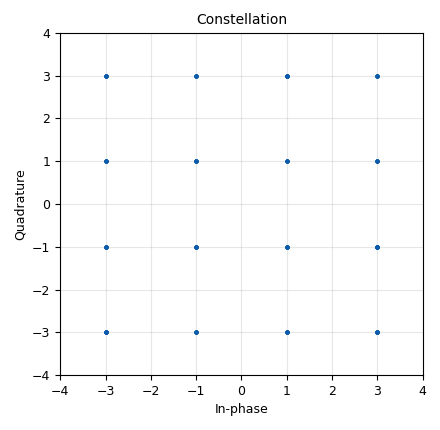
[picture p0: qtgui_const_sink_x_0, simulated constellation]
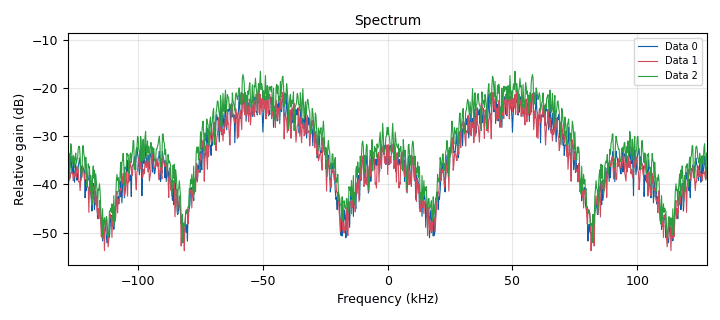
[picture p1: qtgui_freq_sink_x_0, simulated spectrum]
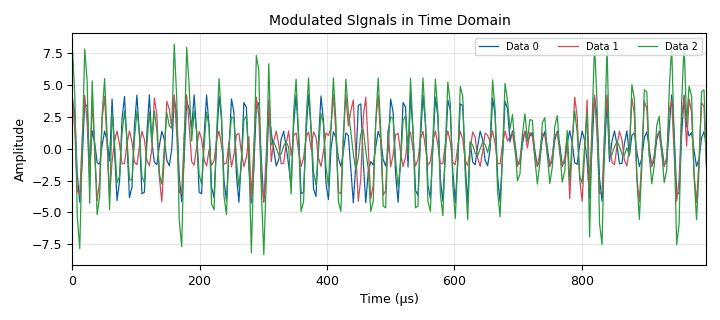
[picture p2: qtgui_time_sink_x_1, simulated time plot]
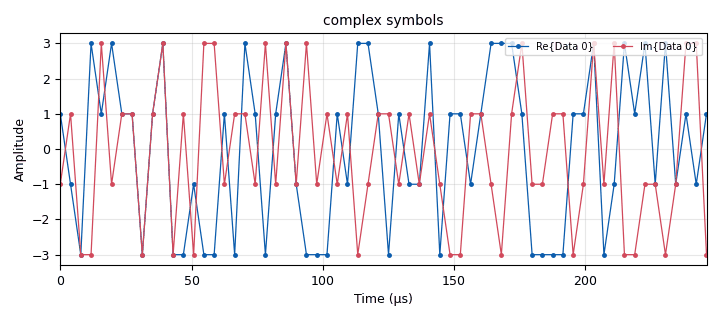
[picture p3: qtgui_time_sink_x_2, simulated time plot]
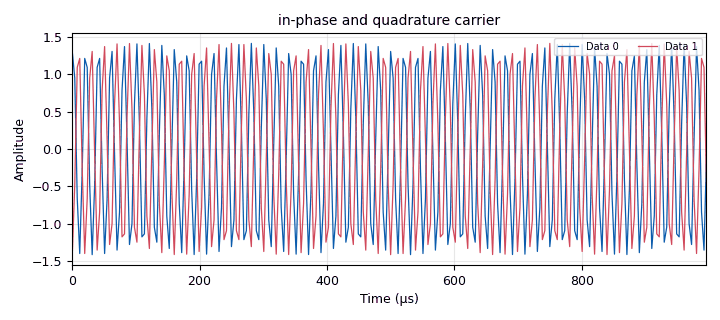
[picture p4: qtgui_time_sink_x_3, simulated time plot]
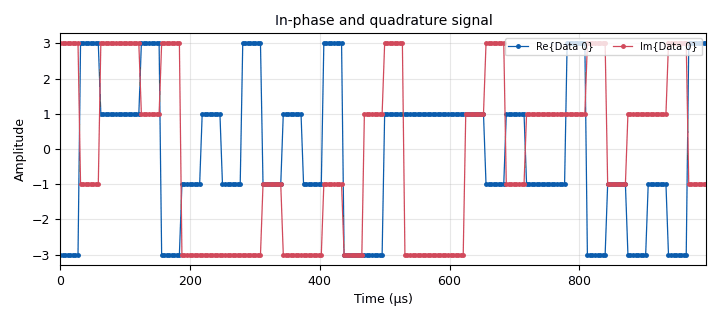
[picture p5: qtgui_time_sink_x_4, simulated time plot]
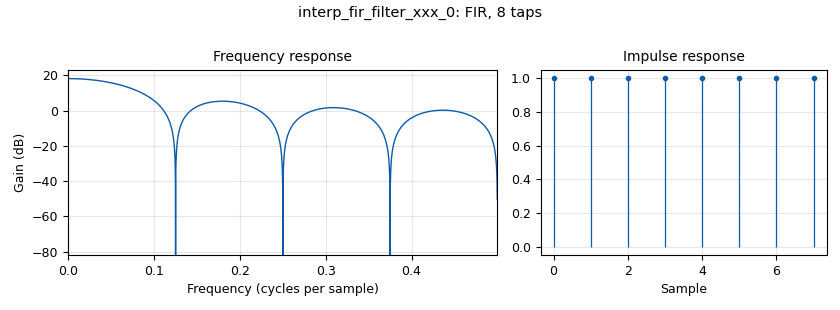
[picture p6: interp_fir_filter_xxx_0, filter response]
<?xml version='1.0' encoding='utf-8'?>
<?grc format='1' created='3.7.9'?>
<flow_graph>
<block>
<key>options</key>
<param><key>id</key><value>qpsk_mod</value></param>
<param><key>category</key><value>Custom</value></param>
<param><key>generate_options</key><value>qt_gui</value></param>
<param><key>title</key><value>QPSK Modulation</value></param>
</block>
<block>
<key>variable_qtgui_range</key>
<param><key>id</key><value>fc</value></param>
<param><key>value</key><value>50000</value></param>
<param><key>gui_hint</key><value>0,0,1,1</value></param>
<param><key>label</key><value>Carrier Frequency</value></param>
<param><key>orient</key><value>Qt.Horizontal</value></param>
<param><key>start</key><value>1000</value></param>
<param><key>step</key><value>100</value></param>
<param><key>stop</key><value>100000</value></param>
</block>
<block>
<key>variable</key>
<param><key>id</key><value>samp_rate</value></param>
<param><key>value</key><value>32000</value></param>
</block>
<block>
<key>variable</key>
<param><key>id</key><value>sps</value></param>
<param><key>value</key><value>8</value></param>
</block>
<block>
<key>analog_random_source_x</key>
<param><key>id</key><value>analog_random_source_x_1</value></param>
<param><key>max</key><value>256</value></param>
<param><key>min</key><value>0</value></param>
<param><key>num_samps</key><value>1000</value></param>
<param><key>type</key><value>byte</value></param>
<param><key>repeat</key><value>True</value></param>
</block>
<block>
<key>analog_sig_source_x</key>
<param><key>id</key><value>analog_sig_source_x_0</value></param>
<param><key>amp</key><value>np.sqrt(2)</value></param>
<param><key>freq</key><value>fc</value></param>
<param><key>offset</key><value>0</value></param>
<param><key>type</key><value>float</value></param>
<param><key>samp_rate</key><value>samp_rate * sps</value></param>
<param><key>waveform</key><value>analog.GR_COS_WAVE</value></param>
</block>
<block>
<key>blocks_add_xx</key>
<param><key>id</key><value>blocks_add_xx_0</value></param>
<param><key>type</key><value>float</value></param>
</block>
<block>
<key>blocks_complex_to_imag</key>
<param><key>id</key><value>blocks_complex_to_imag_0</value></param>
</block>
<block>
<key>blocks_complex_to_real</key>
<param><key>id</key><value>blocks_complex_to_real_0</value></param>
</block>
<block>
<key>blocks_delay</key>
<param><key>id</key><value>blocks_delay_0</value></param>
<param><key>delay</key><value>1000000000/(4*fc)</value></param>
<param><key>type</key><value>float</value></param>
</block>
<block>
<key>blocks_multiply_xx</key>
<param><key>id</key><value>blocks_multiply_xx_0</value></param>
<param><key>type</key><value>float</value></param>
</block>
<block>
<key>blocks_multiply_xx</key>
<param><key>id</key><value>blocks_multiply_xx_1</value></param>
<param><key>type</key><value>float</value></param>
</block>
<block>
<key>blocks_packed_to_unpacked_xx</key>
<param><key>id</key><value>blocks_packed_to_unpacked_xx_0</value></param>
<param><key>bits_per_chunk</key><value>4</value></param>
<param><key>endianness</key><value>gr.GR_MSB_FIRST</value></param>
<param><key>type</key><value>byte</value></param>
</block>
<block>
<key>blocks_throttle</key>
<param><key>id</key><value>blocks_throttle_0</value></param>
<param><key>samples_per_second</key><value>samp_rate</value></param>
<param><key>type</key><value>complex</value></param>
</block>
<block>
<key>digital_chunks_to_symbols_xx</key>
<param><key>id</key><value>digital_chunks_to_symbols_xx_0</value></param>
<param><key>dimension</key><value>1</value></param>
<param><key>in_type</key><value>byte</value></param>
<param><key>out_type</key><value>complex</value></param>
<param><key>symbol_table</key><value>[-3+3j,-1+3j,1+3j,3+3j,-3+1j,-1+1j,1+1j,3+1j,-3-1j,-1-1j,1-1j,3-1j,-3-3j,-1-3j,1-3j,3-3j]</value></param>
</block>
<block>
<key>import</key>
<param><key>id</key><value>import_0</value></param>
<param><key>import</key><value>import numpy as np</value></param>
</block>
<block>
<key>interp_fir_filter_xxx</key>
<param><key>id</key><value>interp_fir_filter_xxx_0</value></param>
<param><key>interp</key><value>sps</value></param>
<param><key>taps</key><value>np.ones(sps)</value></param>
<param><key>type</key><value>ccc</value></param>
</block>
<block>
<key>qtgui_const_sink_x</key>
<param><key>id</key><value>qtgui_const_sink_x_0</value></param>
<param><key>gui_hint</key><value>1,0,1,1</value></param>
<param><key>grid</key><value>True</value></param>
<param><key>name</key><value>"Constellation"</value></param>
<param><key>size</key><value>1024</value></param>
<param><key>type</key><value>complex</value></param>
<param><key>xmax</key><value>4</value></param>
<param><key>xmin</key><value>-4</value></param>
<param><key>ymax</key><value>4</value></param>
<param><key>ymin</key><value>-4</value></param>
</block>
<block>
<key>qtgui_freq_sink_x</key>
<param><key>id</key><value>qtgui_freq_sink_x_0</value></param>
<param><key>autoscale</key><value>True</value></param>
<param><key>average</key><value>0.2</value></param>
<param><key>bw</key><value>samp_rate * sps</value></param>
<param><key>fc</key><value>0</value></param>
<param><key>fftsize</key><value>1024</value></param>
<param><key>gui_hint</key><value>4,1,1,1</value></param>
<param><key>grid</key><value>True</value></param>
<param><key>label2</key><value></value></param>
<param><key>label3</key><value></value></param>
<param><key>name</key><value>"Spectrum"</value></param>
<param><key>nconnections</key><value>3</value></param>
<param><key>showports</key><value>True</value></param>
<param><key>type</key><value>float</value></param>
<param><key>wintype</key><value>firdes.WIN_HANN</value></param>
</block>
<block>
<key>qtgui_time_sink_x</key>
<param><key>id</key><value>qtgui_time_sink_x_1</value></param>
<param><key>autoscale</key><value>True</value></param>
<param><key>entags</key><value>False</value></param>
<param><key>gui_hint</key><value>4,0,1,1</value></param>
<param><key>grid</key><value>True</value></param>
<param><key>color1</key><value>"blue"</value></param>
<param><key>label1</key><value></value></param>
<param><key>color2</key><value>"red"</value></param>
<param><key>label2</key><value></value></param>
<param><key>color3</key><value>"green"</value></param>
<param><key>label3</key><value></value></param>
<param><key>name</key><value>"Modulated SIgnals in Time Domain"</value></param>
<param><key>nconnections</key><value>3</value></param>
<param><key>size</key><value>256</value></param>
<param><key>srate</key><value>samp_rate* sps</value></param>
<param><key>type</key><value>float</value></param>
</block>
<block>
<key>qtgui_time_sink_x</key>
<param><key>id</key><value>qtgui_time_sink_x_2</value></param>
<param><key>autoscale</key><value>True</value></param>
<param><key>entags</key><value>False</value></param>
<param><key>gui_hint</key><value>1,1,1,1</value></param>
<param><key>grid</key><value>True</value></param>
<param><key>color1</key><value>"blue"</value></param>
<param><key>label1</key><value></value></param>
<param><key>marker1</key><value>0</value></param>
<param><key>color2</key><value>"red"</value></param>
<param><key>label2</key><value></value></param>
<param><key>marker2</key><value>1</value></param>
<param><key>name</key><value>"complex symbols"</value></param>
<param><key>size</key><value>64</value></param>
<param><key>srate</key><value>samp_rate* sps</value></param>
<param><key>type</key><value>complex</value></param>
<param><key>update_time</key><value>1</value></param>
</block>
<block>
<key>qtgui_time_sink_x</key>
<param><key>id</key><value>qtgui_time_sink_x_3</value></param>
<param><key>autoscale</key><value>True</value></param>
<param><key>entags</key><value>False</value></param>
<param><key>gui_hint</key><value>2,1,1,1</value></param>
<param><key>grid</key><value>True</value></param>
<param><key>color1</key><value>"blue"</value></param>
<param><key>label1</key><value></value></param>
<param><key>color2</key><value>"red"</value></param>
<param><key>label2</key><value></value></param>
<param><key>name</key><value>"in-phase and quadrature carrier"</value></param>
<param><key>nconnections</key><value>2</value></param>
<param><key>size</key><value>256</value></param>
<param><key>srate</key><value>samp_rate*sps</value></param>
<param><key>type</key><value>float</value></param>
</block>
<block>
<key>qtgui_time_sink_x</key>
<param><key>id</key><value>qtgui_time_sink_x_4</value></param>
<param><key>autoscale</key><value>True</value></param>
<param><key>entags</key><value>False</value></param>
<param><key>gui_hint</key><value>2,0,1,1</value></param>
<param><key>grid</key><value>True</value></param>
<param><key>color1</key><value>"blue"</value></param>
<param><key>label1</key><value></value></param>
<param><key>marker1</key><value>0</value></param>
<param><key>color2</key><value>"red"</value></param>
<param><key>label2</key><value></value></param>
<param><key>marker2</key><value>1</value></param>
<param><key>name</key><value>"In-phase and quadrature signal"</value></param>
<param><key>size</key><value>256</value></param>
<param><key>srate</key><value>samp_rate*sps</value></param>
<param><key>type</key><value>complex</value></param>
</block>
<connection><source_block_id>analog_random_source_x_1</source_block_id><sink_block_id>blocks_packed_to_unpacked_xx_0</sink_block_id><source_key>0</source_key><sink_key>0</sink_key></connection>
<connection><source_block_id>analog_sig_source_x_0</source_block_id><sink_block_id>blocks_delay_0</sink_block_id><source_key>0</source_key><sink_key>0</sink_key></connection>
<connection><source_block_id>analog_sig_source_x_0</source_block_id><sink_block_id>blocks_multiply_xx_0</sink_block_id><source_key>0</source_key><sink_key>1</sink_key></connection>
<connection><source_block_id>analog_sig_source_x_0</source_block_id><sink_block_id>qtgui_time_sink_x_3</sink_block_id><source_key>0</source_key><sink_key>1</sink_key></connection>
<connection><source_block_id>blocks_add_xx_0</source_block_id><sink_block_id>qtgui_freq_sink_x_0</sink_block_id><source_key>0</source_key><sink_key>2</sink_key></connection>
<connection><source_block_id>blocks_add_xx_0</source_block_id><sink_block_id>qtgui_time_sink_x_1</sink_block_id><source_key>0</source_key><sink_key>2</sink_key></connection>
<connection><source_block_id>blocks_complex_to_imag_0</source_block_id><sink_block_id>blocks_multiply_xx_1</sink_block_id><source_key>0</source_key><sink_key>0</sink_key></connection>
<connection><source_block_id>blocks_complex_to_real_0</source_block_id><sink_block_id>blocks_multiply_xx_0</sink_block_id><source_key>0</source_key><sink_key>0</sink_key></connection>
<connection><source_block_id>blocks_delay_0</source_block_id><sink_block_id>blocks_multiply_xx_1</sink_block_id><source_key>0</source_key><sink_key>1</sink_key></connection>
<connection><source_block_id>blocks_delay_0</source_block_id><sink_block_id>qtgui_time_sink_x_3</sink_block_id><source_key>0</source_key><sink_key>0</sink_key></connection>
<connection><source_block_id>blocks_multiply_xx_0</source_block_id><sink_block_id>blocks_add_xx_0</sink_block_id><source_key>0</source_key><sink_key>1</sink_key></connection>
<connection><source_block_id>blocks_multiply_xx_0</source_block_id><sink_block_id>qtgui_freq_sink_x_0</sink_block_id><source_key>0</source_key><sink_key>1</sink_key></connection>
<connection><source_block_id>blocks_multiply_xx_0</source_block_id><sink_block_id>qtgui_time_sink_x_1</sink_block_id><source_key>0</source_key><sink_key>1</sink_key></connection>
<connection><source_block_id>blocks_multiply_xx_1</source_block_id><sink_block_id>blocks_add_xx_0</sink_block_id><source_key>0</source_key><sink_key>0</sink_key></connection>
<connection><source_block_id>blocks_multiply_xx_1</source_block_id><sink_block_id>qtgui_freq_sink_x_0</sink_block_id><source_key>0</source_key><sink_key>0</sink_key></connection>
<connection><source_block_id>blocks_multiply_xx_1</source_block_id><sink_block_id>qtgui_time_sink_x_1</sink_block_id><source_key>0</source_key><sink_key>0</sink_key></connection>
<connection><source_block_id>blocks_packed_to_unpacked_xx_0</source_block_id><sink_block_id>digital_chunks_to_symbols_xx_0</sink_block_id><source_key>0</source_key><sink_key>0</sink_key></connection>
<connection><source_block_id>blocks_throttle_0</source_block_id><sink_block_id>interp_fir_filter_xxx_0</sink_block_id><source_key>0</source_key><sink_key>0</sink_key></connection>
<connection><source_block_id>blocks_throttle_0</source_block_id><sink_block_id>qtgui_const_sink_x_0</sink_block_id><source_key>0</source_key><sink_key>0</sink_key></connection>
<connection><source_block_id>blocks_throttle_0</source_block_id><sink_block_id>qtgui_time_sink_x_2</sink_block_id><source_key>0</source_key><sink_key>0</sink_key></connection>
<connection><source_block_id>digital_chunks_to_symbols_xx_0</source_block_id><sink_block_id>blocks_throttle_0</sink_block_id><source_key>0</source_key><sink_key>0</sink_key></connection>
<connection><source_block_id>interp_fir_filter_xxx_0</source_block_id><sink_block_id>blocks_complex_to_imag_0</sink_block_id><source_key>0</source_key><sink_key>0</sink_key></connection>
<connection><source_block_id>interp_fir_filter_xxx_0</source_block_id><sink_block_id>blocks_complex_to_real_0</sink_block_id><source_key>0</source_key><sink_key>0</sink_key></connection>
<connection><source_block_id>interp_fir_filter_xxx_0</source_block_id><sink_block_id>qtgui_time_sink_x_4</sink_block_id><source_key>0</source_key><sink_key>0</sink_key></connection>
</flow_graph>
